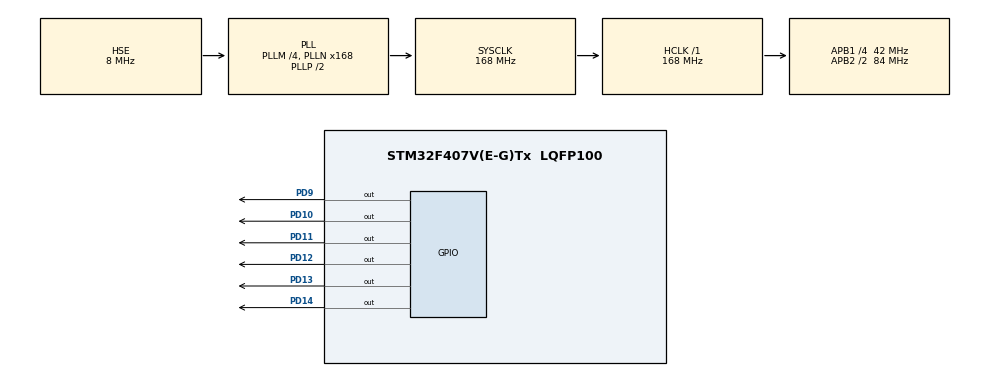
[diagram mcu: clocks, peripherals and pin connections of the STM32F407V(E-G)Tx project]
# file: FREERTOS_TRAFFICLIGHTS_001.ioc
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FREERTOS.BinarySemaphores01=myBinarySem01,Dynamic,NULL
FREERTOS.Mutexes01=myMutex01,Dynamic,NULL
FREERTOS.Tasks01=Task1,1,128,StartTask1,Default,NULL,Dynamic,NULL,NULL;Task2,0,128,StartTask2,Default,NULL,Dynamic,NULL,NULL
FREERTOS.configUSE_NEWLIB_REENTRANT=1
Mcu.Family=STM32F4
Mcu.Name=STM32F407V(E-G)Tx
Mcu.Package=LQFP100
NVIC.PriorityGroup=NVIC_PRIORITYGROUP_4
NVIC.TIM2_IRQn=true\:15\:0\:false\:false\:true\:false\:false\:true\:true
NVIC.TimeBase=TIM2_IRQn
NVIC.TimeBaseIP=TIM2
PA13.Mode=Serial_Wire
PA13.Signal=SYS_JTMS-SWDIO
PA14.Mode=Serial_Wire
PA14.Signal=SYS_JTCK-SWCLK
PD10.Signal=GPIO_Output
PD11.Signal=GPIO_Output
PD12.Signal=GPIO_Output
PD13.Signal=GPIO_Output
PD14.Signal=GPIO_Output
PD9.Signal=GPIO_Output
PH0-OSC_IN.Mode=HSE-External-Oscillator
PH0-OSC_IN.Signal=RCC_OSC_IN
PH1-OSC_OUT.Mode=HSE-External-Oscillator
PH1-OSC_OUT.Signal=RCC_OSC_OUT
ProjectManager.HeapSize=0x200
ProjectManager.StackSize=0x400
ProjectManager.TargetToolchain=STM32CubeIDE
RCC.48MHZClocksFreq_Value=84000000
RCC.AHBFreq_Value=168000000
RCC.APB1CLKDivider=RCC_HCLK_DIV4
RCC.APB1Freq_Value=42000000
RCC.APB1TimFreq_Value=84000000
RCC.APB2CLKDivider=RCC_HCLK_DIV2
RCC.APB2Freq_Value=84000000
RCC.APB2TimFreq_Value=168000000
RCC.CortexFreq_Value=168000000
RCC.HCLKFreq_Value=168000000
RCC.HSE_VALUE=8000000
RCC.HSI_VALUE=16000000
RCC.LSE_VALUE=32768
RCC.PLLM=4
RCC.PLLN=168
RCC.PLLSourceVirtual=RCC_PLLSOURCE_HSE
RCC.SYSCLKFreq_VALUE=168000000
RCC.SYSCLKSource=RCC_SYSCLKSOURCE_PLLCLK
RCC.VCOOutputFreq_Value=336000000
VP_FREERTOS_VS_CMSIS_V1.Mode=CMSIS_V1
VP_SYS_VS_tim2.Mode=TIM2
board=custom

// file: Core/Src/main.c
/* USER CODE BEGIN Header */
/**
  ******************************************************************************
  * @file           : main.c
  * @brief          : Main program body
  ******************************************************************************
  * @attention
  *
  * Copyright (c) 2024 STMicroelectronics.
  * All rights reserved.
  *
  * This software is licensed under terms that can be found in the LICENSE file
  * in the root directory of this software component.
  * If no LICENSE file comes with this software, it is provided AS-IS.
  *
  ******************************************************************************
  */
/* USER CODE END Header */
#include "main.h"
#include "cmsis_os.h"

osThreadId Task1Handle;
osThreadId Task2Handle;
osMutexId myMutex01Handle;
osSemaphoreId myBinarySem01Handle;

void SystemClock_Config(void);
static void MX_GPIO_Init(void);
void StartTask1(void const * argument);
void StartTask2(void const * argument);

int main(void)
{

  /* MCU Configuration--------------------------------------------------------*/

  /* Reset of all peripherals, Initializes the Flash interface and the Systick. */
  HAL_Init();

  /* Configure the system clock */
  SystemClock_Config();

  /* Initialize all configured peripherals */
  MX_GPIO_Init();

  /* Create the mutex(es) */
  /* definition and creation of myMutex01 */
  osMutexDef(myMutex01);
  myMutex01Handle = osMutexCreate(osMutex(myMutex01));

  /* Create the semaphores(s) */
  /* definition and creation of myBinarySem01 */
  osSemaphoreDef(myBinarySem01);
  myBinarySem01Handle = osSemaphoreCreate(osSemaphore(myBinarySem01), 1);

  /* Create the thread(s) */
  /* definition and creation of Task1 */
  osThreadDef(Task1, StartTask1, osPriorityAboveNormal, 0, 128);
  Task1Handle = osThreadCreate(osThread(Task1), NULL);

  /* definition and creation of Task2 */
  osThreadDef(Task2, StartTask2, osPriorityNormal, 0, 128);
  Task2Handle = osThreadCreate(osThread(Task2), NULL);

  /* Start scheduler */
  osKernelStart();

  /* We should never get here as control is now taken by the scheduler */
  /* Infinite loop */
  while (1)
  {

  }
}

void SystemClock_Config(void)
{
  RCC_OscInitTypeDef RCC_OscInitStruct = {0};
  RCC_ClkInitTypeDef RCC_ClkInitStruct = {0};

  /** Configure the main internal regulator output voltage
  */
  __HAL_RCC_PWR_CLK_ENABLE();
  __HAL_PWR_VOLTAGESCALING_CONFIG(PWR_REGULATOR_VOLTAGE_SCALE1);

  /** Initializes the RCC Oscillators according to the specified parameters
  * in the RCC_OscInitTypeDef structure.
  */
  RCC_OscInitStruct.OscillatorType = RCC_OSCILLATORTYPE_HSE;
  RCC_OscInitStruct.HSEState = RCC_HSE_ON;
  RCC_OscInitStruct.PLL.PLLState = RCC_PLL_ON;
  RCC_OscInitStruct.PLL.PLLSource = RCC_PLLSOURCE_HSE;
  RCC_OscInitStruct.PLL.PLLM = 4;
  RCC_OscInitStruct.PLL.PLLN = 168;
  RCC_OscInitStruct.PLL.PLLP = RCC_PLLP_DIV2;
  RCC_OscInitStruct.PLL.PLLQ = 4;
  if (HAL_RCC_OscConfig(&RCC_OscInitStruct) != HAL_OK)
  {
    Error_Handler();
  }

  /** Initializes the CPU, AHB and APB buses clocks
  */
  RCC_ClkInitStruct.ClockType = RCC_CLOCKTYPE_HCLK|RCC_CLOCKTYPE_SYSCLK
                              |RCC_CLOCKTYPE_PCLK1|RCC_CLOCKTYPE_PCLK2;
  RCC_ClkInitStruct.SYSCLKSource = RCC_SYSCLKSOURCE_PLLCLK;
  RCC_ClkInitStruct.AHBCLKDivider = RCC_SYSCLK_DIV1;
  RCC_ClkInitStruct.APB1CLKDivider = RCC_HCLK_DIV4;
  RCC_ClkInitStruct.APB2CLKDivider = RCC_HCLK_DIV2;

  if (HAL_RCC_ClockConfig(&RCC_ClkInitStruct, FLASH_LATENCY_5) != HAL_OK)
  {
    Error_Handler();
  }
}

static void MX_GPIO_Init(void)
{
  GPIO_InitTypeDef GPIO_InitStruct = {0};

  /* GPIO Ports Clock Enable */
  __HAL_RCC_GPIOH_CLK_ENABLE();
  __HAL_RCC_GPIOD_CLK_ENABLE();
  __HAL_RCC_GPIOA_CLK_ENABLE();

  /*Configure GPIO pin Output Level */
  HAL_GPIO_WritePin(GPIOD, GPIO_PIN_9|GPIO_PIN_10|GPIO_PIN_11|GPIO_PIN_12
                          |GPIO_PIN_13|GPIO_PIN_14, GPIO_PIN_RESET);

  /*Configure GPIO pins : PD9 PD10 PD11 PD12
                           PD13 PD14 */
  GPIO_InitStruct.Pin = GPIO_PIN_9|GPIO_PIN_10|GPIO_PIN_11|GPIO_PIN_12
                          |GPIO_PIN_13|GPIO_PIN_14;
  GPIO_InitStruct.Mode = GPIO_MODE_OUTPUT_PP;
  GPIO_InitStruct.Pull = GPIO_NOPULL;
  GPIO_InitStruct.Speed = GPIO_SPEED_FREQ_LOW;
  HAL_GPIO_Init(GPIOD, &GPIO_InitStruct);

}

/* USER CODE BEGIN 4 */

// D9 -> Green Light Of Traffic 1
// D10 -> Yellow Light of Traffic 1
// D11 -> Red Light of Traffic 1

// D12 -> Green Light Of Traffic 2
// D13 -> Yellow Light of Traffic 2
// D14 -> Red Light of Traffic 2

/* USER CODE END 4 */

void StartTask1(void const * argument)
{
  /* USER CODE BEGIN 5 */
  /* Infinite loop */
  for(;;)
  {
	  xSemaphoreTake(myBinarySem01Handle,1000);
	  HAL_GPIO_WritePin(GPIOD,GPIO_PIN_14,1);

	  // Yeşil yanmadan önce turuncu ışığın yanması.
	  HAL_GPIO_WritePin(GPIOD,GPIO_PIN_10,1);
	  HAL_Delay(1000);
	  HAL_GPIO_WritePin(GPIOD,GPIO_PIN_10,0);

	  // Trafik 1 Yeşil Led
	  HAL_GPIO_WritePin(GPIOD,GPIO_PIN_11,0);
	  HAL_GPIO_WritePin(GPIOD,GPIO_PIN_9,1);
	  HAL_Delay(10000);
	  HAL_GPIO_WritePin(GPIOD,GPIO_PIN_9,0);

	  // Trafik 1 Sarı Led
	  HAL_GPIO_WritePin(GPIOD,GPIO_PIN_10,1);
	  HAL_Delay(1000);
	  HAL_GPIO_WritePin(GPIOD,GPIO_PIN_10,0);

	  // Trafik 1 Kırmızı Led
	  HAL_GPIO_WritePin(GPIOD,GPIO_PIN_11,1);
	  HAL_Delay(1000);
	  xSemaphoreGive(myBinarySem01Handle);

	  vTaskDelay(15000);
  }
  /* USER CODE END 5 */
}

void StartTask2(void const * argument)
{
  /* USER CODE BEGIN StartTask2 */
  /* Infinite loop */
  for(;;)
  {
	  xSemaphoreTake(myBinarySem01Handle,1000);
	  HAL_GPIO_WritePin(GPIOD,GPIO_PIN_11,1);

	  // Yeşil yanmadan önce turuncu ışığın yanması.
	  HAL_GPIO_WritePin(GPIOD,GPIO_PIN_13,1);
	  HAL_Delay(1000);
	  HAL_GPIO_WritePin(GPIOD,GPIO_PIN_13,0);

	  // Trafik 1 Kırmızı Led
	  HAL_GPIO_WritePin(GPIOD,GPIO_PIN_14,0);
	  // Trafik 1 Yeşil Led
	  HAL_GPIO_WritePin(GPIOD,GPIO_PIN_12,1);
	  HAL_Delay(10000);
	  HAL_GPIO_WritePin(GPIOD,GPIO_PIN_12,0);

	  // Trafik 1 Sarı Led
	  HAL_GPIO_WritePin(GPIOD,GPIO_PIN_13,1);
	  HAL_Delay(1000);
	  HAL_GPIO_WritePin(GPIOD,GPIO_PIN_13,0);

	  // Trafik 1 Kırmızı Led
	  HAL_GPIO_WritePin(GPIOD,GPIO_PIN_14,1);
	  HAL_Delay(1000);
	  xSemaphoreGive(myBinarySem01Handle);

	  vTaskDelay(15000);
  }
  /* USER CODE END StartTask2 */
}

void HAL_TIM_PeriodElapsedCallback(TIM_HandleTypeDef *htim)
{
  if (htim->Instance == TIM2) {
    HAL_IncTick();
  }
}

void Error_Handler(void)
{
  __disable_irq();
  while (1)
  {
  }
}
